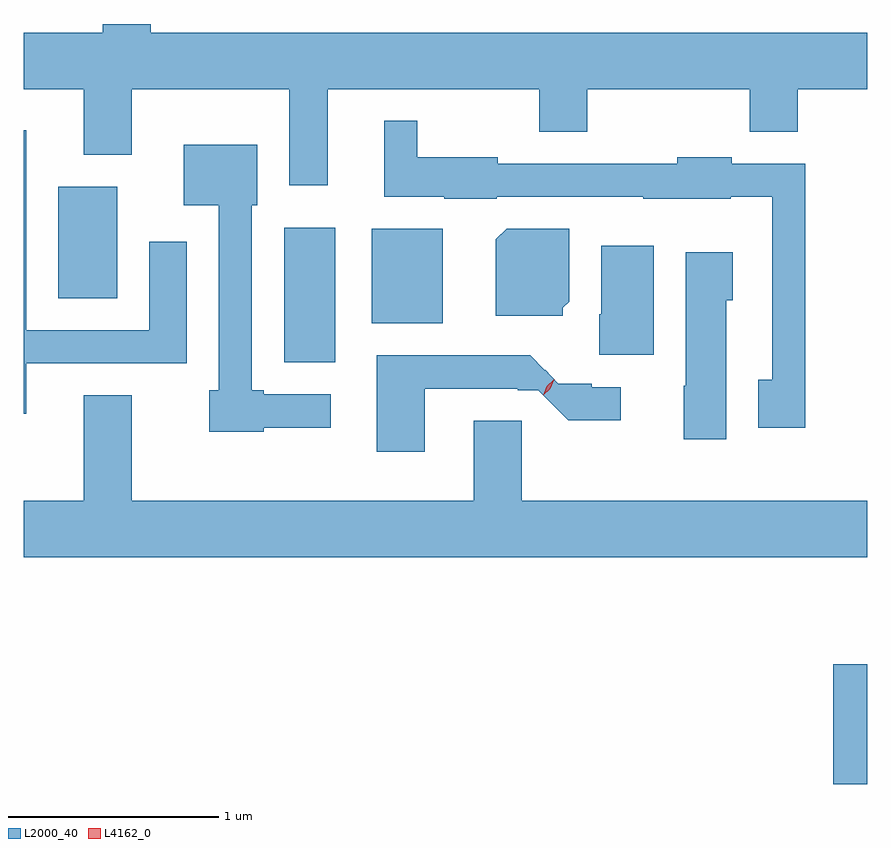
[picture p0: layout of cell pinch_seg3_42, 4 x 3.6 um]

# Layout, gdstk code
import gdstk
lib = gdstk.Library(unit=1e-6, precision=1e-09)
def R(c, l, rs):  # rectangles x0, y0, x1, y1
    for r in rs: c.add(gdstk.rectangle(r[:2], r[2:], *l))
def P(c, l, *ps):  # polygons
    for p in ps: c.add(gdstk.Polygon(p, *l))
L2000_40 = (2000, 40)
L4162_0 = (4162, 0)

pinch_seg3_42 = lib.new_cell('pinch_seg3_42')
R(pinch_seg3_42, L2000_40, [(1111.406,1127.161,1111.567,1127.729), (1108.801,1129.161,1109.044,1129.799), (1109.216,1129.346,1109.554,1129.794), (1107.731,1129.466,1108.009,1129.994)])
P(pinch_seg3_42, L2000_40, [(1109.009,1130.456),(1110.011,1130.456),(1110.011,1130.256),(1110.239,1130.256),(1110.239,1130.456),(1111.011,1130.456),(1111.011,1130.256),(1111.239,1130.256),(1111.239,1130.456),(1111.567,1130.456),(1111.567,1130.724),(1108.169,1130.724),(1108.169,1130.766),(1107.941,1130.766),(1107.941,1130.724),(1107.567,1130.724),(1107.567,1130.456),(1107.851,1130.456),(1107.851,1130.146),(1108.079,1130.146),(1108.079,1130.456),(1108.826,1130.456),(1108.826,1130.001),(1109.009,1130.001)],
  [(1111.274,1130.104),(1110.924,1130.104),(1110.924,1130.134),(1110.666,1130.134),(1110.666,1130.104),(1109.814,1130.104),(1109.814,1130.134),(1109.434,1130.134),(1109.434,1130.308),(1109.276,1130.308),(1109.276,1129.946),(1109.56,1129.946),(1109.56,1129.936),(1109.81,1129.936),(1109.81,1129.946),(1110.505,1129.946),(1110.505,1129.936),(1110.92,1129.936),(1110.92,1129.946),(1111.116,1129.946),(1111.116,1129.079),(1111.051,1129.079),(1111.051,1128.851),(1111.274,1128.851)],
  [(1107.579,1129.156),(1108.339,1129.156),(1108.339,1129.734),(1108.161,1129.734),(1108.161,1129.314),(1107.579,1129.314),(1107.579,1130.263),(1107.567,1130.263),(1107.567,1128.918),(1107.579,1128.918)],
  [(1108.704,1128.851),(1109.023,1128.851),(1109.023,1129.009),(1108.704,1129.009),(1108.704,1129.029),(1108.649,1129.029),(1108.649,1129.906),(1108.674,1129.906),(1108.674,1130.194),(1108.326,1130.194),(1108.326,1129.906),(1108.491,1129.906),(1108.491,1129.029),(1108.446,1129.029),(1108.446,1128.831),(1108.704,1128.831)],
  [(1110.124,1129.419),(1110.154,1129.449),(1110.154,1129.794),(1109.857,1129.794),(1109.806,1129.744),(1109.806,1129.381),(1110.124,1129.381)],
  [(1110.554,1129.714),(1110.306,1129.714),(1110.306,1129.39),(1110.296,1129.39),(1110.296,1129.196),(1110.554,1129.196)],
  [(1110.899,1129.456),(1110.929,1129.456),(1110.929,1129.684),(1110.706,1129.684),(1110.706,1129.05),(1110.696,1129.05),(1110.696,1128.796),(1110.899,1128.796)],
  [(1109.469,1129.036),(1109.91,1129.036),(1109.91,1129.029),(1110.006,1129.029),(1110.149,1128.886),(1110.398,1128.886),(1110.398,1129.044),(1110.26,1129.044),(1110.26,1129.06),(1110.103,1129.06),(1110.039,1129.125),(1110.038,1129.124),(1109.968,1129.194),(1109.241,1129.194),(1109.241,1128.736),(1109.469,1128.736)],
  [(1111.567,1128.504),(1109.929,1128.504),(1109.929,1128.884),(1109.701,1128.884),(1109.701,1128.504),(1108.079,1128.504),(1108.079,1129.004),(1107.851,1129.004),(1107.851,1128.504),(1107.567,1128.504),(1107.567,1128.236),(1111.567,1128.236)])
P(pinch_seg3_42, L4162_0, [(1110.03,1129.004),(1110.03,1129.005),(1110.048,1129.048),(1110.083,1129.08),(1110.083,1129.08),(1110.083,1129.08),(1110.065,1129.036),(1110.03,1129.004)],
  [(1110.033,1129.009),(1110.033,1129.01),(1110.048,1129.048),(1110.078,1129.076),(1110.079,1129.076),(1110.079,1129.075),(1110.064,1129.037),(1110.034,1129.009)])

lib.write_gds('pinch_seg3_42.gds')
